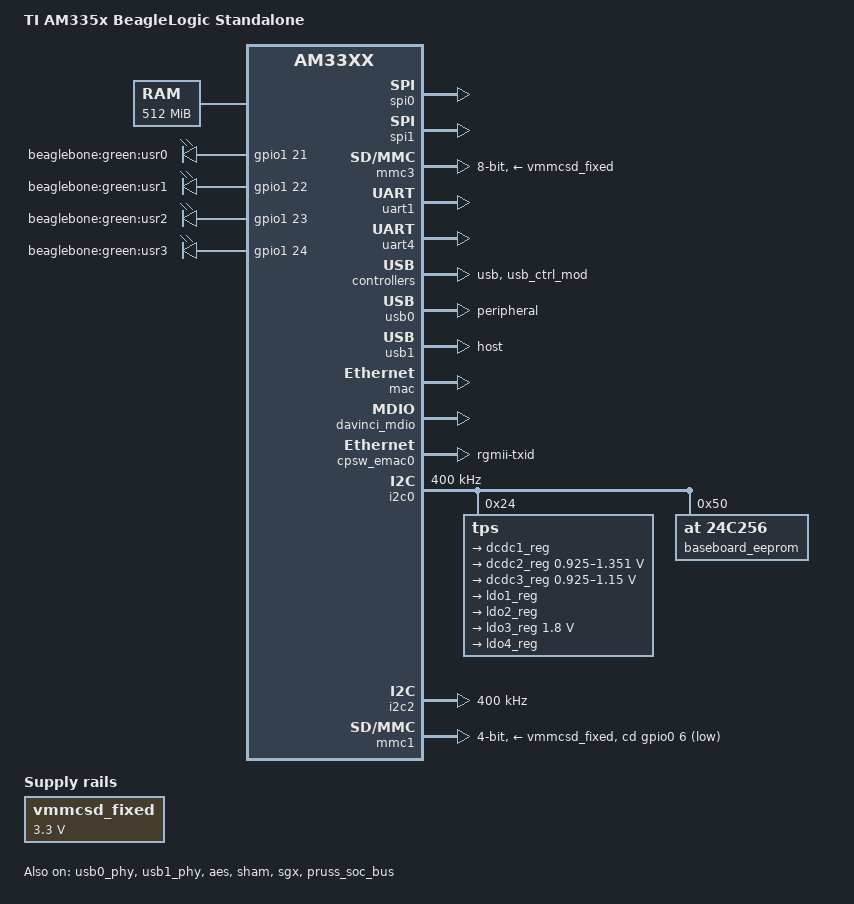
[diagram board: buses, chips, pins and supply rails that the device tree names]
/*
 * Copyright (C) 2012 Texas Instruments Incorporated - http://www.ti.com/
 *
 * This program is free software; you can redistribute it and/or modify
 * it under the terms of the GNU General Public License version 2 as
 * published by the Free Software Foundation.
 */
/dts-v1/;

#include "am33xx.dtsi"

/ {
	model = "TI AM335x BeagleLogic Standalone";
	compatible = "ti,am335x-beaglelogic", "ti,am335x-bone", "ti,am33xx";
};

/ {
	cpus {
		cpu@0 {
			cpu0-supply = <&dcdc2_reg>;
		};
	};

	memory {
		device_type = "memory";
		reg = <0x80000000 0x20000000>; /* 512 MB */
	};

	leds {
		pinctrl-names = "default", "sleep";
		pinctrl-0 = <&user_leds_default>;
		pinctrl-1 = <&user_leds_sleep>;

		compatible = "gpio-leds";

		led@2 {
			label = "beaglebone:green:usr0";
			gpios = <&gpio1 21 GPIO_ACTIVE_HIGH>;
			linux,default-trigger = "heartbeat";
			default-state = "off";
		};

		led@3 {
			label = "beaglebone:green:usr1";
			gpios = <&gpio1 22 GPIO_ACTIVE_HIGH>;
			linux,default-trigger = "mmc0";
			default-state = "off";
		};

		led@4 {
			label = "beaglebone:green:usr2";
			gpios = <&gpio1 23 GPIO_ACTIVE_HIGH>;
			linux,default-trigger = "cpu0";
			default-state = "off";
		};

		led@5 {
			label = "beaglebone:green:usr3";
			gpios = <&gpio1 24 GPIO_ACTIVE_HIGH>;
			linux,default-trigger = "mmc2";
			default-state = "off";
		};
	};

	vmmcsd_fixed: fixedregulator@0 {
		compatible = "regulator-fixed";
		regulator-name = "vmmcsd_fixed";
		regulator-min-microvolt = <3300000>;
		regulator-max-microvolt = <3300000>;
	};

	pru-beaglelogic {
		compatible = "beaglelogic,beaglelogic";
		pinctrl-names = "default";
		pinctrl-0 = <&pru_pins>;
		samplerate = <50000000>;	/* All (100 / n) MHz sample rates, n = 1,2,... */
		sampleunit = <1>;		/* 0:16-bit samples, 1:8-bit samples */
		triggerflags = <0>; 		/* 0:one-shot, 1:continuous */

		pruss = <&pruss>;
		interrupt-parent = <&pruss_intc>;
		interrupts = <22>, <23>, <24>;
		interrupt-names = "from_bl_1", "to_bl", "from_bl_2";
	};
};

&am33xx_pinmux {
	user_leds_default: user_leds_default {
		pinctrl-single,pins = <
			AM33XX_IOPAD(0x854, PIN_OUTPUT_PULLDOWN | MUX_MODE7)	/* gpmc_a5.gpio1_21 */
			AM33XX_IOPAD(0x858, PIN_OUTPUT_PULLUP | MUX_MODE7)	/* gpmc_a6.gpio1_22 */
			AM33XX_IOPAD(0x85c, PIN_OUTPUT_PULLDOWN | MUX_MODE7)	/* gpmc_a7.gpio1_23 */
			AM33XX_IOPAD(0x860, PIN_OUTPUT_PULLUP | MUX_MODE7)	/* gpmc_a8.gpio1_24 */
		>;
	};

	user_leds_sleep: user_leds_sleep {
		pinctrl-single,pins = <
			AM33XX_IOPAD(0x854, PIN_INPUT_PULLDOWN | MUX_MODE7)	/* gpmc_a5.gpio1_21 */
			AM33XX_IOPAD(0x858, PIN_INPUT_PULLDOWN | MUX_MODE7)	/* gpmc_a6.gpio1_22 */
			AM33XX_IOPAD(0x85c, PIN_INPUT_PULLDOWN | MUX_MODE7)	/* gpmc_a7.gpio1_23 */
			AM33XX_IOPAD(0x860, PIN_INPUT_PULLDOWN | MUX_MODE7)	/* gpmc_a8.gpio1_24 */
		>;
	};

	i2c0_pins: pinmux_i2c0_pins {
		pinctrl-single,pins = <
			AM33XX_IOPAD(0x988, PIN_INPUT_PULLUP | MUX_MODE0)	/* i2c0_sda.i2c0_sda */
			AM33XX_IOPAD(0x98c, PIN_INPUT_PULLUP | MUX_MODE0)	/* i2c0_scl.i2c0_scl */
		>;
	};

	i2c2_pins: pinmux_i2c2_pins {
		pinctrl-single,pins = <
			AM33XX_IOPAD(0x978, PIN_INPUT_PULLUP | MUX_MODE3)	/* uart1_ctsn.i2c2_sda */
			AM33XX_IOPAD(0x97c, PIN_INPUT_PULLUP | MUX_MODE3)	/* uart1_rtsn.i2c2_scl */
		>;
	};

	mmc1_pins: pinmux_mmc1_pins {
		pinctrl-single,pins = <
			AM33XX_IOPAD(0x960, PIN_INPUT | MUX_MODE7) /* GPIO0_6 */
		>;
	};

	cpsw_default: cpsw_default {
		pinctrl-single,pins = <
			/* Slave 1 */
			AM33XX_IOPAD(0x914, PIN_OUTPUT_PULLDOWN | MUX_MODE2)	/* mii1_txen.rgmii1_tctl */
			AM33XX_IOPAD(0x918, PIN_INPUT_PULLDOWN | MUX_MODE2)	/* mii1_rxdv.rgmii1_rctl */
			AM33XX_IOPAD(0x91c, PIN_OUTPUT_PULLDOWN | MUX_MODE2)	/* mii1_txd3.rgmii1_txd3 */
			AM33XX_IOPAD(0x920, PIN_OUTPUT_PULLDOWN | MUX_MODE2)	/* mii1_txd2.rgmii1_txd2 */
			AM33XX_IOPAD(0x924, PIN_OUTPUT_PULLDOWN | MUX_MODE2)	/* mii1_txd1.rgmii1_txd1 */
			AM33XX_IOPAD(0x928, PIN_OUTPUT_PULLDOWN | MUX_MODE2)	/* mii1_txd0.rgmii1_txd0 */
			AM33XX_IOPAD(0x92c, PIN_OUTPUT_PULLDOWN | MUX_MODE2)	/* mii1_txclk.rgmii1_txclk */
			AM33XX_IOPAD(0x930, PIN_INPUT_PULLDOWN | MUX_MODE2)	/* mii1_rxclk.rgmii1_rxclk */
			AM33XX_IOPAD(0x934, PIN_INPUT_PULLDOWN | MUX_MODE2)	/* mii1_rxd3.rgmii1_rxd3 */
			AM33XX_IOPAD(0x938, PIN_INPUT_PULLDOWN | MUX_MODE2)	/* mii1_rxd2.rgmii1_rxd2 */
			AM33XX_IOPAD(0x93c, PIN_INPUT_PULLDOWN | MUX_MODE2)	/* mii1_rxd1.rgmii1_rxd1 */
			AM33XX_IOPAD(0x940, PIN_INPUT_PULLDOWN | MUX_MODE2)	/* mii1_rxd0.rgmii1_rxd0 */
		>;
	};

	cpsw_sleep: cpsw_sleep {
		pinctrl-single,pins = <
			/* Slave 1 reset value */
			AM33XX_IOPAD(0x914, PIN_INPUT_PULLDOWN | MUX_MODE7)
			AM33XX_IOPAD(0x918, PIN_INPUT_PULLDOWN | MUX_MODE7)
			AM33XX_IOPAD(0x91c, PIN_INPUT_PULLDOWN | MUX_MODE7)
			AM33XX_IOPAD(0x920, PIN_INPUT_PULLDOWN | MUX_MODE7)
			AM33XX_IOPAD(0x924, PIN_INPUT_PULLDOWN | MUX_MODE7)
			AM33XX_IOPAD(0x928, PIN_INPUT_PULLDOWN | MUX_MODE7)
			AM33XX_IOPAD(0x92c, PIN_INPUT_PULLDOWN | MUX_MODE7)
			AM33XX_IOPAD(0x930, PIN_INPUT_PULLDOWN | MUX_MODE7)
			AM33XX_IOPAD(0x934, PIN_INPUT_PULLDOWN | MUX_MODE7)
			AM33XX_IOPAD(0x938, PIN_INPUT_PULLDOWN | MUX_MODE7)
			AM33XX_IOPAD(0x93c, PIN_INPUT_PULLDOWN | MUX_MODE7)
			AM33XX_IOPAD(0x940, PIN_INPUT_PULLDOWN | MUX_MODE7)
		>;
	};


	davinci_mdio_default: davinci_mdio_default {
		pinctrl-single,pins = <
			/* MDIO */
			AM33XX_IOPAD(0x948, PIN_INPUT_PULLUP | SLEWCTRL_FAST | MUX_MODE0)	/* mdio_data.mdio_data */
			AM33XX_IOPAD(0x94c, PIN_OUTPUT_PULLUP | MUX_MODE0)			/* mdio_clk.mdio_clk */
		>;
	};

	davinci_mdio_sleep: davinci_mdio_sleep {
		pinctrl-single,pins = <
			/* MDIO reset value */
			AM33XX_IOPAD(0x948, PIN_INPUT_PULLDOWN | MUX_MODE7)
			AM33XX_IOPAD(0x94c, PIN_INPUT_PULLDOWN | MUX_MODE7)
		>;
	};

	emmc_pins: pinmux_emmc_pins {
		pinctrl-single,pins = <
			0x8c ( PIN_INPUT_PULLUP | MUX_MODE3 ) /* (V12) gpmc_clk.mmc2_clk */
			0x88 ( PIN_INPUT_PULLUP | MUX_MODE3 ) /* (T13) gpmc_csn3.mmc2_cmd */
			0x30 ( PIN_INPUT_PULLUP | MUX_MODE3 ) /* (T12) gpmc_ad12.mmc2_dat0 */
			0x34 ( PIN_INPUT_PULLUP | MUX_MODE3 ) /* (R12) gpmc_ad13.mmc2_dat1 */
			0x38 ( PIN_INPUT_PULLUP | MUX_MODE3 ) /* (V13) gpmc_ad14.mmc2_dat2 */
			0x3c ( PIN_INPUT_PULLUP | MUX_MODE3 ) /* (U13) gpmc_ad15.mmc2_dat3 */
			0x20 ( PIN_INPUT_PULLUP | MUX_MODE3 ) /* (U10) gpmc_ad8.mmc2_dat4 */
			0x24 ( PIN_INPUT_PULLUP | MUX_MODE3 ) /* (T10) gpmc_ad9.mmc2_dat5 */
			0x28 ( PIN_INPUT_PULLUP | MUX_MODE3 ) /* (T11) gpmc_ad10.mmc2_dat6 */
			0x2c ( PIN_INPUT_PULLUP | MUX_MODE3 ) /* (U12) gpmc_ad11.mmc2_dat7 */

			0x50 ( PIN_INPUT_PULLUP | MUX_MODE7 ) /* (R14) gpmc_a4.gpio1[20] - EMMC_RESETn */
		>;
	};

	pru_pins: pinmux_pru_pins {
		pinctrl-single,pins = <
			0xa0 ( PIN_INPUT_PULLDOWN | MUX_MODE6 ) /* (R1) lcd_data0.pr1_pru1_pru_r31[0] */
			0xa4 ( PIN_INPUT_PULLDOWN | MUX_MODE6 ) /* (R2) lcd_data1.pr1_pru1_pru_r31[1] */
			0xa8 ( PIN_INPUT_PULLDOWN | MUX_MODE6 ) /* (R3) lcd_data2.pr1_pru1_pru_r31[2] */
			0xac ( PIN_INPUT_PULLDOWN | MUX_MODE6 ) /* (R4) lcd_data3.pr1_pru1_pru_r31[3] */
			0xb0 ( PIN_INPUT_PULLDOWN | MUX_MODE6 ) /* (T1) lcd_data4.pr1_pru1_pru_r31[4] */
			0xb4 ( PIN_INPUT_PULLDOWN | MUX_MODE6 ) /* (T2) lcd_data5.pr1_pru1_pru_r31[5] */
			0xb8 ( PIN_INPUT_PULLDOWN | MUX_MODE6 ) /* (T3) lcd_data6.pr1_pru1_pru_r31[6] */
			0xbc ( PIN_INPUT_PULLDOWN | MUX_MODE6 ) /* (T4) lcd_data7.pr1_pru1_pru_r31[7] */
			0xe0 ( PIN_INPUT_PULLDOWN | MUX_MODE6 ) /* (U5) lcd_vsync.pr1_pru1_pru_r31[8] */
			0xe4 ( PIN_INPUT_PULLDOWN | MUX_MODE6 ) /* (R5) lcd_hsync.pr1_pru1_pru_r31[9] */
			0xe8 ( PIN_INPUT_PULLDOWN | MUX_MODE6 ) /* (V5) lcd_pclk.pr1_pru1_pru_r31[10] */
			0xec ( PIN_INPUT_PULLDOWN | MUX_MODE6 ) /* (R6) lcd_ac_bias_en.pr1_pru1_pru_r31[11] */
			0x80 ( PIN_INPUT_PULLDOWN | MUX_MODE6 ) /* (U9) gpmc_csn1.pr1_pru1_pru_r31[12] */
			0x84 ( PIN_INPUT_PULLDOWN | MUX_MODE6 ) /* (V9) gpmc_csn2.pr1_pru1_pru_r31[13] */
			0x170 ( PIN_INPUT_PULLDOWN | MUX_MODE6 ) /* (E15) uart0_rxd.pr1_pru1_pru_r31[14] */
			0x174 ( PIN_INPUT_PULLDOWN | MUX_MODE6 ) /* (E16) uart0_txd.pr1_pru1_pru_r31[15] */
			0x1b0 ( PIN_INPUT_PULLDOWN | MUX_MODE5 ) /* (A15) xdma_event_intr0.pr1_pru1_pru_r31[16] */

			0x64 ( PIN_OUTPUT | MUX_MODE7 ) /* (U16) gpmc_a9.gpio1[25] - GPIO_VSEL*/
			0x68 ( PIN_OUTPUT | MUX_MODE7 ) /* (T16) gpmc_a10.gpio1[26] - GPIO_OE */
		>;
	};

	uart1_pins: pinmux_uart1_pins {
		pinctrl-single,pins = <
			0x180 ( PIN_INPUT_PULLUP | MUX_MODE0 ) /* (D16) uart1_rxd.uart1_rxd */
			0x184 ( PIN_OUTPUT_PULLDOWN | MUX_MODE0 ) /* (D15) uart1_txd.uart1_txd */
		>;
	};

	uart4_pins: pinmux_uart4_pins {
		pinctrl-single,pins = <
			0x70 ( PIN_INPUT_PULLUP | MUX_MODE6 ) /* (T17) gpmc_wait0.uart4_rxd */
			0x74 ( PIN_OUTPUT_PULLDOWN | MUX_MODE6 ) /* (U17) gpmc_wpn.uart4_txd */
		>;
	};

	spi0_pins: pinmux_spi0_pins {
		pinctrl-single,pins = <
			0x150 (PIN_INPUT_PULLUP | MUX_MODE0)	/* spi0_sclk.spi0_sclk */
			0x154 (PIN_INPUT_PULLUP | MUX_MODE0)	/* spi0_d0.spi0_d0 */
			0x158 (PIN_OUTPUT_PULLUP | MUX_MODE0)	/* spi0_d1.spi0_d1 */
			0x15c (PIN_OUTPUT_PULLUP | MUX_MODE0)	/* spi0_cs0.spi0_cs0 */
		>;
	};

	spi1_pins: pinmux_spi1_pins {
		pinctrl-single,pins = <
			0x108 ( PIN_INPUT_PULLUP | MUX_MODE2 ) /* (H16) gmii1_col.spi1_sclk */
			0x10c ( PIN_INPUT_PULLUP | MUX_MODE2 ) /* (H17) gmii1_crs.spi1_d0 */
			0x110 ( PIN_OUTPUT_PULLUP | MUX_MODE2 ) /* (J15) gmii1_rxer.spi1_d1 */
			0x144 ( PIN_OUTPUT_PULLUP | MUX_MODE2 ) /* (H18) rmii1_refclk.spi1_cs0 */
			0x164 ( PIN_OUTPUT_PULLUP | MUX_MODE2 ) /* (C18) eCAP0_in_PWM0_out.spi1_cs1 */
		>;
	};

	eqep0_pins: pinmux_eqeo0_pins {
		pinctrl-single,pins = <
			0x1a0 ( PIN_INPUT_PULLUP | MUX_MODE1 ) /* (B12) mcasp0_aclkr.eQEP0A_in */
			0x1a4 ( PIN_INPUT_PULLUP | MUX_MODE1 ) /* (C13) mcasp0_fsr.eQEP0B_in */
		>;
	};
};

&spi0 {
	pinctrl-names = "default";
	pinctrl-0 = <&spi0_pins>;

	status = "okay";

	channel@0 {
		#address-cells = <1>;
		#size-cells = <0>;
		compatible = "spidev";
		reg = <0>;
		spi-max-frequency = <24000000>;
	};
};

&spi1 {
	pinctrl-names = "default";
	pinctrl-0 = <&spi1_pins>;

	#address-cells = <1>;
	#size-cells = <0>;
	status = "okay";

	channel@0 {
		#address-cells = <1>;
		#size-cells = <0>;
		compatible = "spidev";
		reg = <0>;
		spi-max-frequency = <24000000>;
	};

	channel@1 {
		#address-cells = <1>;
		#size-cells = <0>;
		compatible = "spidev";
		reg = <1>;
		spi-max-frequency = <24000000>;
	};
};

&mmc3 {
	status = "okay";
	pinctrl-names = "default";
	pinctrl-0 = <&emmc_pins>;
	dmas = <&edma_xbar 12 0 1
		&edma_xbar 13 0 2>;
	dma-names = "tx", "rx";
	vmmc-supply = <&vmmcsd_fixed>;
	bus-width = <8>;
};

&uart1 {
	pinctrl-names = "default";
	pinctrl-0 = <&uart1_pins>;

	status = "okay";
};

&uart4 {
	pinctrl-names = "default";
	pinctrl-0 = <&uart4_pins>;

	status = "okay";
};

&usb {
	status = "okay";
};

&usb_ctrl_mod {
	status = "okay";
};

&usb0_phy {
	status = "okay";
};

&usb1_phy {
	status = "okay";
};

&usb0 {
	status = "okay";
	dr_mode = "peripheral";
};

&usb1 {
	status = "okay";
	dr_mode = "host";
};

&cppi41dma  {
	status = "okay";
};

&mac {
	pinctrl-names = "default", "sleep";
	pinctrl-0 = <&cpsw_default>;
	pinctrl-1 = <&cpsw_sleep>;
	slaves = <1>;
	status = "okay";
};

&davinci_mdio {
	pinctrl-names = "default", "sleep";
	pinctrl-0 = <&davinci_mdio_default>;
	pinctrl-1 = <&davinci_mdio_sleep>;
	status = "okay";
};

&cpsw_emac0 {
	phy_id = <&davinci_mdio>, <1>;
	phy-mode = "rgmii-txid";
};

&i2c0 {
	pinctrl-names = "default";
	pinctrl-0 = <&i2c0_pins>;

	status = "okay";
	clock-frequency = <400000>;

	tps: tps@24 {
		reg = <0x24>;
	};

	baseboard_eeprom: baseboard_eeprom@50 {
		compatible = "at,24c256";
		reg = <0x50>;

		#address-cells = <1>;
		#size-cells = <1>;
		baseboard_data: baseboard_data@0 {
			reg = <0 0x100>;
		};
	};
};

&i2c2 {
	pinctrl-names = "default";
	pinctrl-0 = <&i2c2_pins>;

	status = "okay";
	clock-frequency = <400000>;
};

/include/ "tps65217.dtsi"

&tps {
	/*
	 * Configure pmic to enter OFF-state instead of SLEEP-state ("RTC-only
	 * mode") at poweroff.  Most BeagleBone versions do not support RTC-only
	 * mode and risk hardware damage if this mode is entered.
	 *
	 * For details, see linux-omap mailing list May 2015 thread
	 *	[PATCH] ARM: dts: am335x-bone* enable pmic-shutdown-controller
	 * In particular, messages:
	 *	http://www.spinics.net/lists/linux-omap/msg118585.html
	 *	http://www.spinics.net/lists/linux-omap/msg118615.html
	 *
	 * You can override this later with
	 *	&tps {  /delete-property/ ti,pmic-shutdown-controller;  }
	 * if you want to use RTC-only mode and made sure you are not affected
	 * by the hardware problems. (Tip: double-check by performing a current
	 * measurement after shutdown: it should be less than 1 mA.)
	 */
	ti,pmic-shutdown-controller;

	interrupt-parent = <&intc>;
	interrupts = <7>;	/* NNMI */

	regulators {
		dcdc1_reg: regulator@0 {
			regulator-name = "vdds_dpr";
			regulator-always-on;
		};

		dcdc2_reg: regulator@1 {
			/* VDD_MPU voltage limits 0.95V - 1.26V with +/-4% tolerance */
			regulator-name = "vdd_mpu";
			regulator-min-microvolt = <925000>;
			regulator-max-microvolt = <1351500>;
			regulator-boot-on;
			regulator-always-on;
		};

		dcdc3_reg: regulator@2 {
			/* VDD_CORE voltage limits 0.95V - 1.1V with +/-4% tolerance */
			regulator-name = "vdd_core";
			regulator-min-microvolt = <925000>;
			regulator-max-microvolt = <1150000>;
			regulator-boot-on;
			regulator-always-on;
		};

		ldo1_reg: regulator@3 {
			regulator-name = "vio,vrtc,vdds";
			regulator-always-on;
		};

		ldo2_reg: regulator@4 {
			regulator-name = "vdd_3v3aux";
			regulator-always-on;
		};

		ldo3_reg: regulator@5 {
			regulator-name = "vdd_1v8";
			regulator-always-on;
		};

		ldo4_reg: regulator@6 {
			regulator-name = "vdd_3v3a";
			regulator-always-on;
		};
	};
};

&mmc1 {
	status = "okay";
	bus-width = <0x4>;
	pinctrl-names = "default";
	pinctrl-0 = <&mmc1_pins>;
	cd-gpios = <&gpio0 6 GPIO_ACTIVE_LOW>;
};

&aes {
	status = "okay";
};

&sham {
	status = "okay";
};

&wkup_m3_ipc {
	ti,scale-data-fw = "am335x-bone-scale-data.bin";
};

&rtc {
	clocks = <&clk_32768_ck>, <&clkdiv32k_ick>;
	clock-names = "ext-clk", "int-clk";
	system-power-controller;
};

&sgx {
	status = "okay";
};

&pruss_soc_bus {
	status = "okay";

	pruss: pruss@4a300000 {
		status = "okay";

		pru0: pru@4a334000 {
			status = "okay";
		};

		pru1: pru@4a338000 {
			status = "okay";
		};
	};
};

&ldo3_reg {
	regulator-min-microvolt = <1800000>;
	regulator-max-microvolt = <1800000>;
	regulator-always-on;
};

&mmc1 {
	vmmc-supply = <&vmmcsd_fixed>;
};

&cpu0_opp_table {
	/*
	 * All PG 2.0 silicon may not support 1GHz but some of the early
	 * BeagleBone Blacks have PG 2.0 silicon which is guaranteed
	 * to support 1GHz OPP so enable it for PG 2.0 on this board.
	 */
	oppnitro@1000000000 {
		opp-supported-hw = <0x06 0x0100>;
	};
};
